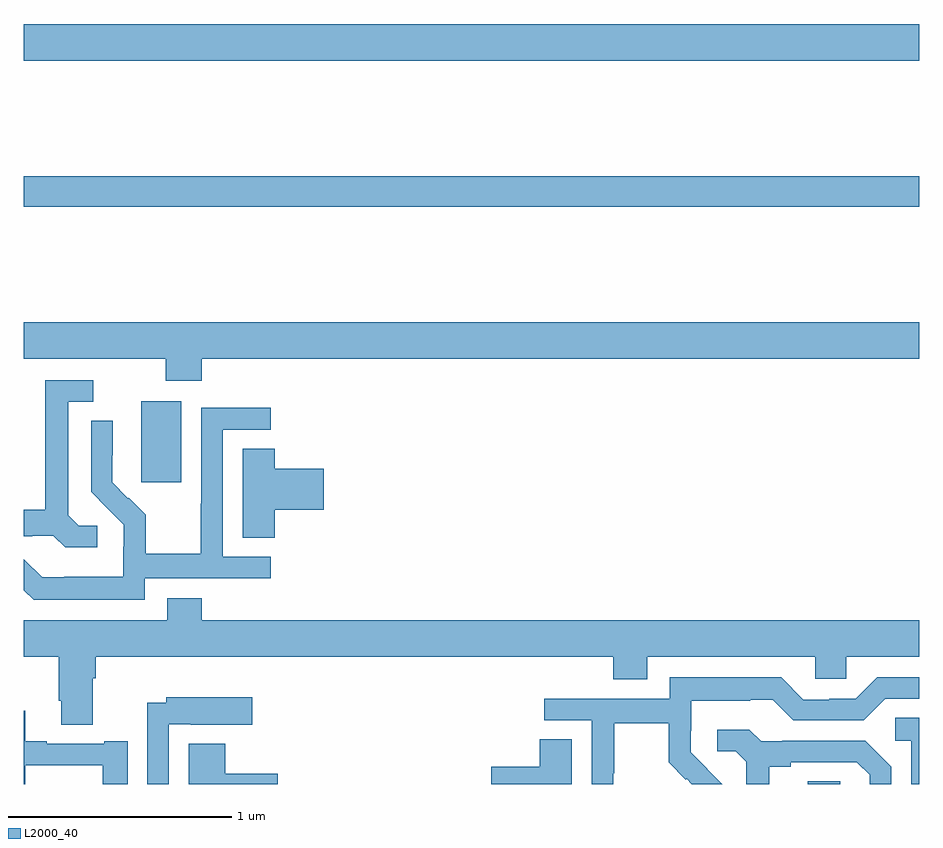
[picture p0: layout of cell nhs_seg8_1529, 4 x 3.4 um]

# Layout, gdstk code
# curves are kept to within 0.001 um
import gdstk
lib = gdstk.Library(unit=1e-6, precision=1e-09)
def R(c, l, rs):  # rectangles x0, y0, x1, y1
    for r in rs: c.add(gdstk.rectangle(r[:2], r[2:], *l))
def P(c, l, *ps):  # polygons
    for p in ps: c.add(gdstk.Polygon(p, *l))
L2000_40 = (2000, 40)

nhs_seg8_1529 = lib.new_cell('nhs_seg8_1529')
R(nhs_seg8_1529, L2000_40, [(210.503,1147.9,210.648,1147.913), (207.524,1149.249,207.703,1149.61), (207,1150.48,211,1150.616), (207,1151.132,211,1151.296)])
P(nhs_seg8_1529, L2000_40, [(207.794,1149.8),(211,1149.8),(211,1149.964),(207,1149.964),(207,1149.8),(207.634,1149.8),(207.634,1149.701),(207.794,1149.701)],
  [(207.328,1149.054),(207.246,1149.054),(207.199,1149.101),(207.199,1149.609),(207.31,1149.609),(207.31,1149.705),(207.095,1149.705),(207.095,1149.125),(207,1149.125),(207,1149.006),(207.038,1149.006),(207.038,1149.009),(207.132,1149.009),(207.184,1148.957),(207.328,1148.957)],
  [(207.54,1148.82),(208.102,1148.82),(208.102,1148.916),(207.888,1148.916),(207.888,1149.483),(208.102,1149.483),(208.102,1149.582),(207.792,1149.582),(207.792,1149.152),(207.79,1149.152),(207.79,1148.929),(207.545,1148.929),(207.545,1149.103),(207.468,1149.18),(207.465,1149.177),(207.395,1149.248),(207.396,1149.524),(207.3,1149.524),(207.3,1149.206),(207.446,1149.058),(207.446,1148.961),(207.444,1148.961),(207.444,1148.827),(207.181,1148.827),(207.181,1148.823),(207.081,1148.823),(207,1148.904),(207,1148.766),(207.043,1148.723),(207.54,1148.723)],
  [(208.121,1149.125),(208.339,1149.125),(208.339,1149.308),(208.121,1149.308),(208.121,1149.398),(207.977,1149.398),(207.977,1149.001),(208.121,1149.001)],
  [(207.794,1148.731),(207.641,1148.731),(207.641,1148.632),(207,1148.632),(207,1148.468),(207.155,1148.468),(207.155,1148.272),(207.167,1148.272),(207.167,1148.164),(207.307,1148.164),(207.307,1148.372),(207.32,1148.372),(207.32,1148.468),(209.633,1148.468),(209.633,1148.369),(209.785,1148.369),(209.785,1148.468),(210.537,1148.468),(210.537,1148.37),(210.675,1148.37),(210.675,1148.468),(211,1148.468),(211,1148.632),(207.794,1148.632)],
  [(209.634,1147.948),(209.637,1147.948),(209.637,1148.172),(209.881,1148.172),(209.881,1147.997),(209.958,1147.92),(209.961,1147.923),(209.984,1147.9),(210.12,1147.9),(209.98,1148.042),(209.98,1148.139),(209.982,1148.139),(209.982,1148.273),(210.245,1148.273),(210.245,1148.277),(210.345,1148.277),(210.438,1148.184),(210.753,1148.184),(210.849,1148.28),(211,1148.28),(211,1148.376),(210.813,1148.376),(210.717,1148.28),(210.599,1148.28),(210.599,1148.277),(210.483,1148.277),(210.383,1148.377),(209.886,1148.377),(209.886,1148.28),(209.325,1148.28),(209.325,1148.184),(209.538,1148.184),(209.538,1147.9),(209.634,1147.9)],
  [(207.648,1148.166),(207.745,1148.166),(207.745,1148.165),(208.021,1148.165),(208.021,1148.287),(207.636,1148.287),(207.636,1148.264),(207.552,1148.264),(207.552,1147.9),(207.648,1147.9)],
  [(207.006,1147.983),(207.353,1147.983),(207.353,1147.9),(207.463,1147.9),(207.463,1148.092),(207.359,1148.092),(207.359,1148.079),(207.103,1148.079),(207.103,1148.092),(207.007,1148.092),(207.007,1148.227),(207,1148.227),(207,1147.9),(207.006,1147.9)],
  [(211,1148.195),(210.894,1148.195),(210.894,1148.094),(210.966,1148.094),(210.966,1147.9),(211,1147.9)],
  [(210.331,1147.976),(210.427,1147.976),(210.427,1147.998),(210.722,1147.998),(210.779,1147.941),(210.779,1147.9),(210.876,1147.9),(210.876,1147.978),(210.76,1148.094),(210.388,1148.094),(210.388,1148.091),(210.294,1148.091),(210.242,1148.143),(210.099,1148.143),(210.099,1148.046),(210.18,1148.046),(210.227,1147.999),(210.227,1147.9),(210.331,1147.9)],
  [(209.449,1148.099),(209.306,1148.099),(209.306,1147.976),(209.088,1147.976),(209.088,1147.9),(209.449,1147.9)],
  [(208.135,1147.945),(207.899,1147.945),(207.899,1148.08),(207.737,1148.08),(207.737,1147.9),(208.135,1147.9)])

lib.write_gds('nhs_seg8_1529.gds')
